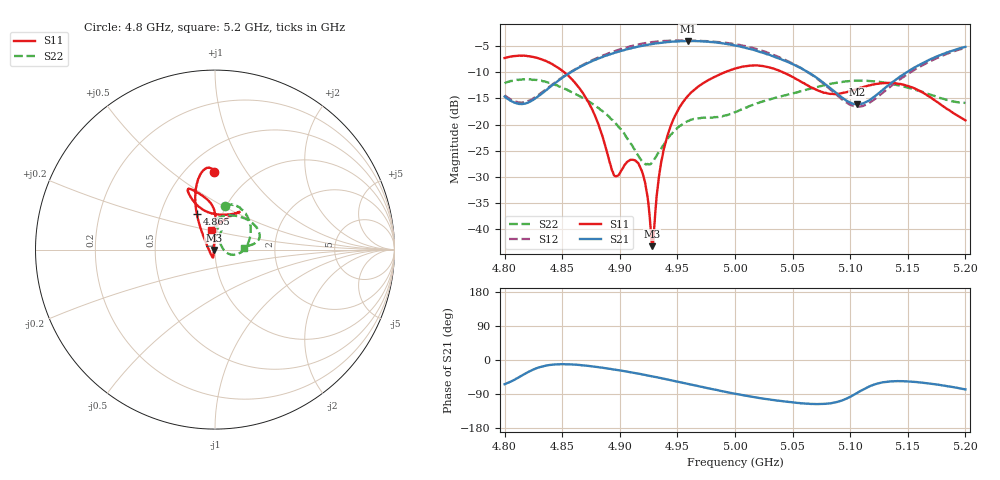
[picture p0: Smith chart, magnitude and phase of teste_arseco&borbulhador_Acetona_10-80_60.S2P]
! Network Analyzer HP8722D
! Hewlett-Packard
! Data name: Linha & Wilkinson
! Saver's name: Rodrigo Anjos
! Comments: Teste da utilização de aquisição
! continua pelo VNA HP8722D
! Time and date: 25/4/2025 15:46
!  Frequency  S11  S21  S12  S22
# HZ  S  MA R 50
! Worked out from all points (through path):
!   401 points, 4.8 GHz to 5.2 GHz, reference 50 ohm
!   highest |S21| = -3.95 dB at 4.959 GHz (marker M1); lowest = -16.1 dB at 5.106 GHz (marker M2)
!   lowest |S11| = -43.3 dB at 4.928 GHz (marker M3), VSWR 1.01, Z = 49.3 - j0.176 ohm
!   |S11| at or under -10 dB: 4.852 GHz to 4.991 GHz (139 MHz wide, 2.82 % of centre); 5.042 GHz to end of sweep
!   |S22| runs from -27.7 to -11.3 dB; largest |S21 - S12| = 1.2
!   S11 on the Smith chart (normalised r, x): 4.8 GHz: 0.68, +0.73; 4.865 GHz: 0.76, +0.32; 5.2 GHz: 0.94, +0.21
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4.8e9  0.4348 90.5  0.1856 -63.8  0.1908 69.8  0.2492 77.1
4.82e9  0.4528 96.8  0.1616 -32.5  0.1673 98.5  0.2724 61.6
4.845e9  0.3595 107.1  0.2553 -11.5  0.2591 119.4  0.2391 34.1
4.865e9  0.223 116.9  0.355 -13.1  0.3589 120.7  0.1879 10.7
4.867e9  0.2073 118.2  0.3643 -13.9  0.3677 120.6  0.1823 8.6
4.88e9  0.1098 128.4  0.4232 -18.3  0.434 118.2  0.1479 -5.4
4.895e9  0.03251 -172.1  0.4863 -24.8  0.5036 113.6  0.1065 -16.0
4.909e9  0.04583 -106.5  0.5361 -32.0  0.5632 107.5  0.06654 -14.4
4.917e9  0.04049 -102.5  0.5619 -36.5  0.5896 103.3  0.04825 -0.9
4.922e9  0.02765 -105.9  0.5764 -39.5  0.6036 100.6  0.04183 16.5
4.928e9  0.00681 -164.8  0.5924 -43.0  0.6183 96.9  0.04352 41.4
4.93e9  0.01062 127.1  0.5965 -44.4  0.6208 95.7  0.04639 48.8
4.934e9  0.03172 99.5  0.605 -46.9  0.629 93.2  0.05447 58.4
4.944e9  0.09568 90.2  0.6222 -53.2  0.6376 86.9  0.07954 69.6
4.959e9  0.1876 89.4  0.6344 -63.0  0.6396 77.2  0.1081 71.6
5e9  0.3442 109.1  0.5739 -89.1  0.5919 50.7  0.1313 88.1
5.029e9  0.3559 115.0  0.4691 -103.8  0.4865 34.2  0.1732 85.7
5.067e9  0.225 105.0  0.3012 -115.9  0.2982 23.5  0.2226 57.1
5.106e9  0.2197 64.3  0.1564 -86.8  0.1484 56.0  0.2637 24.7
5.134e9  0.251 57.0  0.2419 -56.7  0.2275 88.6  0.2479 12.3
5.168e9  0.1874 68.9  0.4145 -61.8  0.3978 85.1  0.1957 7.0
5.2e9  0.1097 100.3  0.5562 -77.7  0.5457 70.1  0.1609 3.9
